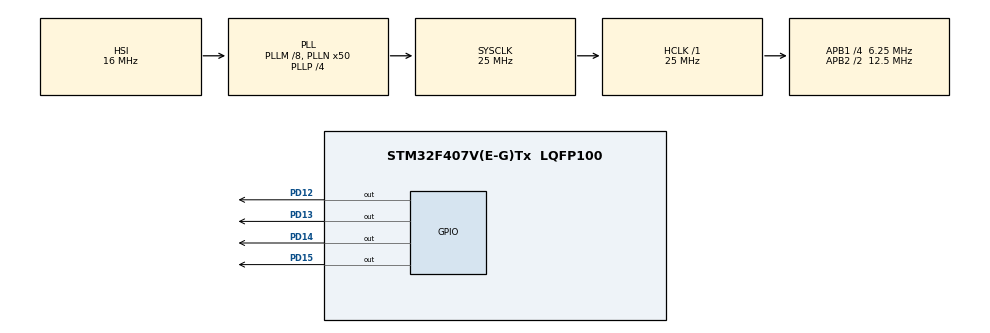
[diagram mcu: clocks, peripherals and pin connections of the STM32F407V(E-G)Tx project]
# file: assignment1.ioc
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FREERTOS.INCLUDE_vTaskDelayUntil=1
FREERTOS.Tasks01=defaultTask,-3,128,StartDefaultTask,Default,NULL,Dynamic,NULL,NULL
FREERTOS.configUSE_NEWLIB_REENTRANT=1
Mcu.Family=STM32F4
Mcu.Name=STM32F407V(E-G)Tx
Mcu.Package=LQFP100
NVIC.PriorityGroup=NVIC_PRIORITYGROUP_4
NVIC.TIM1_UP_TIM10_IRQn=true\:15\:0\:false\:false\:true\:false\:false\:true\:true
NVIC.TimeBase=TIM1_UP_TIM10_IRQn
NVIC.TimeBaseIP=TIM1
PD12.Signal=GPIO_Output
PD13.Signal=GPIO_Output
PD14.Signal=GPIO_Output
PD15.Signal=GPIO_Output
ProjectManager.HeapSize=0x200
ProjectManager.StackSize=0x400
ProjectManager.TargetToolchain=STM32CubeIDE
RCC.48MHZClocksFreq_Value=14285714.285714285
RCC.AHBFreq_Value=25000000
RCC.APB1CLKDivider=RCC_HCLK_DIV4
RCC.APB1Freq_Value=6250000
RCC.APB1TimFreq_Value=12500000
RCC.APB2CLKDivider=RCC_HCLK_DIV2
RCC.APB2Freq_Value=12500000
RCC.APB2TimFreq_Value=25000000
RCC.CortexFreq_Value=25000000
RCC.HCLKFreq_Value=25000000
RCC.HSE_VALUE=8000000
RCC.HSI_VALUE=16000000
RCC.LSE_VALUE=32768
RCC.PLLM=8
RCC.PLLN=50
RCC.PLLP=RCC_PLLP_DIV4
RCC.PLLQ=7
RCC.SYSCLKFreq_VALUE=25000000
RCC.SYSCLKSource=RCC_SYSCLKSOURCE_PLLCLK
RCC.VCOOutputFreq_Value=100000000
VP_FREERTOS_VS_CMSIS_V1.Mode=CMSIS_V1
VP_SYS_VS_tim1.Mode=TIM1
board=STM32F407G-DISC1

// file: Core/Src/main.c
/* USER CODE BEGIN Header */
/**
  ******************************************************************************
  * @file           : main.c
  * @brief          : Main program body
  ******************************************************************************
  * @attention
  *
  * Copyright (c) 2024 STMicroelectronics.
  * All rights reserved.
  *
  * This software is licensed under terms that can be found in the LICENSE file
  * in the root directory of this software component.
  * If no LICENSE file comes with this software, it is provided AS-IS.
  *
  ******************************************************************************
  */
/* USER CODE END Header */
#include "main.h"
#include "cmsis_os.h"

osThreadId defaultTaskHandle;

void SystemClock_Config(void);
static void MX_GPIO_Init(void);
void StartDefaultTask(void const * argument);

/* USER CODE BEGIN 0 */
void vPeriodicTask1(void *pvParam)
{
	portTickType wakeupTime = xTaskGetTickCount();
	while(1)
	{
		HAL_GPIO_TogglePin(GPIOD, GPIO_PIN_12);
		vTaskDelayUntil(&wakeupTime ,1000 / portTICK_RATE_MS);
	}
	vTaskDelete(NULL);
}

void vPeriodicTask2(void *pvParam)
{
	portTickType wakeupTime = xTaskGetTickCount();
	while(1)
	{
		HAL_GPIO_TogglePin(GPIOD, GPIO_PIN_13);
		vTaskDelayUntil(&wakeupTime ,2000 / portTICK_RATE_MS);
	}
	vTaskDelete(NULL);
}

void vPeriodicTask3(void *pvParam)
{
	portTickType wakeupTime = xTaskGetTickCount();
	while(1)
	{
		HAL_GPIO_TogglePin(GPIOD, GPIO_PIN_14);
		vTaskDelayUntil(&wakeupTime ,3000 / portTICK_RATE_MS);
	}
	vTaskDelete(NULL);
}

void vPeriodicTask4(void *pvParam)
{
	portTickType wakeupTime = xTaskGetTickCount();
	while(1)
	{
		HAL_GPIO_TogglePin(GPIOD, GPIO_PIN_15);
		vTaskDelayUntil(&wakeupTime ,4000 / portTICK_RATE_MS);
	}
	vTaskDelete(NULL);
}

/* USER CODE END 0 */

int main(void)
{

  /* USER CODE BEGIN 1 */
	BaseType_t ret;

  /* USER CODE END 1 */

  /* MCU Configuration--------------------------------------------------------*/

  /* Reset of all peripherals, Initializes the Flash interface and the Systick. */
  HAL_Init();

  /* Configure the system clock */
  SystemClock_Config();

  /* Initialize all configured peripherals */
  MX_GPIO_Init();
  /* USER CODE BEGIN 2 */
  ret = xTaskCreate(vPeriodicTask1, "Periodic", configMINIMAL_STACK_SIZE, NULL, 2, NULL);
    if(ret != pdTRUE)
  	  Error_Handler();

   ret = xTaskCreate(vPeriodicTask2, "Periodic", configMINIMAL_STACK_SIZE, NULL, 2, NULL);
        if(ret != pdTRUE)
      	  Error_Handler();

   ret = xTaskCreate(vPeriodicTask3, "Periodic", configMINIMAL_STACK_SIZE, NULL, 2, NULL);
          if(ret != pdTRUE)
            Error_Handler();

   ret = xTaskCreate(vPeriodicTask4, "Periodic", configMINIMAL_STACK_SIZE, NULL, 2, NULL);
          if(ret != pdTRUE)
        	  Error_Handler();

    vTaskStartScheduler();

  /* USER CODE END 2 */

  /* Create the thread(s) */
  /* definition and creation of defaultTask */
  osThreadDef(defaultTask, StartDefaultTask, osPriorityIdle, 0, 128);
  defaultTaskHandle = osThreadCreate(osThread(defaultTask), NULL);

  /* Start scheduler */
  osKernelStart();

  /* We should never get here as control is now taken by the scheduler */

  /* Infinite loop */
  while (1)
  {

  }
}

void SystemClock_Config(void)
{
  RCC_OscInitTypeDef RCC_OscInitStruct = {0};
  RCC_ClkInitTypeDef RCC_ClkInitStruct = {0};

  /** Configure the main internal regulator output voltage
  */
  __HAL_RCC_PWR_CLK_ENABLE();
  __HAL_PWR_VOLTAGESCALING_CONFIG(PWR_REGULATOR_VOLTAGE_SCALE1);

  /** Initializes the RCC Oscillators according to the specified parameters
  * in the RCC_OscInitTypeDef structure.
  */
  RCC_OscInitStruct.OscillatorType = RCC_OSCILLATORTYPE_HSI;
  RCC_OscInitStruct.HSIState = RCC_HSI_ON;
  RCC_OscInitStruct.HSICalibrationValue = RCC_HSICALIBRATION_DEFAULT;
  RCC_OscInitStruct.PLL.PLLState = RCC_PLL_ON;
  RCC_OscInitStruct.PLL.PLLSource = RCC_PLLSOURCE_HSI;
  RCC_OscInitStruct.PLL.PLLM = 8;
  RCC_OscInitStruct.PLL.PLLN = 50;
  RCC_OscInitStruct.PLL.PLLP = RCC_PLLP_DIV4;
  RCC_OscInitStruct.PLL.PLLQ = 7;
  if (HAL_RCC_OscConfig(&RCC_OscInitStruct) != HAL_OK)
  {
    Error_Handler();
  }

  /** Initializes the CPU, AHB and APB buses clocks
  */
  RCC_ClkInitStruct.ClockType = RCC_CLOCKTYPE_HCLK|RCC_CLOCKTYPE_SYSCLK
                              |RCC_CLOCKTYPE_PCLK1|RCC_CLOCKTYPE_PCLK2;
  RCC_ClkInitStruct.SYSCLKSource = RCC_SYSCLKSOURCE_PLLCLK;
  RCC_ClkInitStruct.AHBCLKDivider = RCC_SYSCLK_DIV1;
  RCC_ClkInitStruct.APB1CLKDivider = RCC_HCLK_DIV4;
  RCC_ClkInitStruct.APB2CLKDivider = RCC_HCLK_DIV2;

  if (HAL_RCC_ClockConfig(&RCC_ClkInitStruct, FLASH_LATENCY_0) != HAL_OK)
  {
    Error_Handler();
  }
}

static void MX_GPIO_Init(void)
{
  GPIO_InitTypeDef GPIO_InitStruct = {0};

  /* GPIO Ports Clock Enable */
  __HAL_RCC_GPIOD_CLK_ENABLE();

  /*Configure GPIO pin Output Level */
  HAL_GPIO_WritePin(GPIOD, GPIO_PIN_12|GPIO_PIN_13|GPIO_PIN_14|GPIO_PIN_15, GPIO_PIN_RESET);

  /*Configure GPIO pins : PD12 PD13 PD14 PD15 */
  GPIO_InitStruct.Pin = GPIO_PIN_12|GPIO_PIN_13|GPIO_PIN_14|GPIO_PIN_15;
  GPIO_InitStruct.Mode = GPIO_MODE_OUTPUT_PP;
  GPIO_InitStruct.Pull = GPIO_NOPULL;
  GPIO_InitStruct.Speed = GPIO_SPEED_FREQ_LOW;
  HAL_GPIO_Init(GPIOD, &GPIO_InitStruct);

}

void StartDefaultTask(void const * argument)
{
  for(;;)
  {
    osDelay(1);
  }
}

void HAL_TIM_PeriodElapsedCallback(TIM_HandleTypeDef *htim)
{
  if (htim->Instance == TIM1) {
    HAL_IncTick();
  }
}

void Error_Handler(void)
{
  __disable_irq();
  while (1)
  {
  }
}
